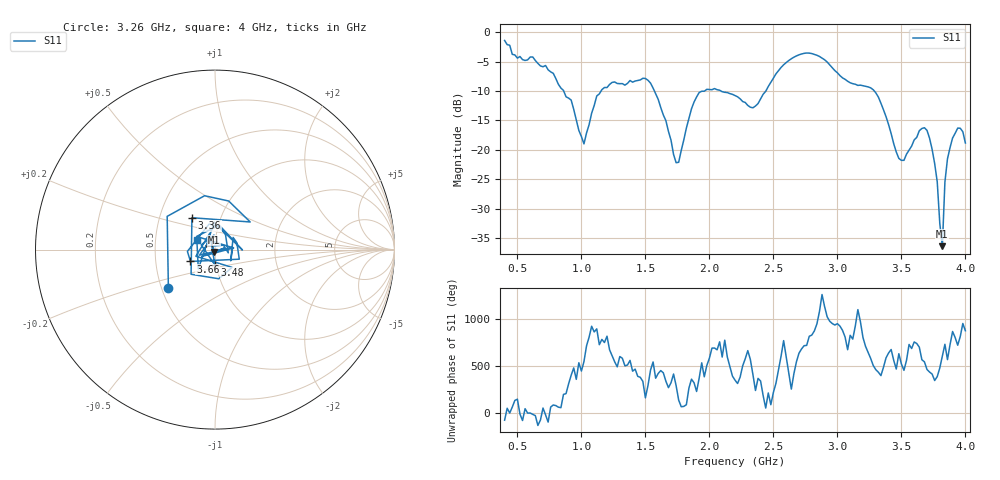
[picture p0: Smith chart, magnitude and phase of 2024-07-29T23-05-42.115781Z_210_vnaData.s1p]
!Created with skrf (http://scikit-rf.org).
# Hz S RI R 50.0
!freq ReS11 ImS11
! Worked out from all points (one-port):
!   181 points, 400 MHz to 4 GHz, reference 50 ohm
!   lowest |S11| = -36.4 dB at 3.82 GHz (marker M1), VSWR 1.03, Z = 49.4 - j1.36 ohm
!   |S11| at or under -10 dB: 1.57 GHz to 1.962 GHz (391.2 MHz wide, 22.2 % of centre); 2.091 GHz to 2.441 GHz (349.5 MHz wide, 15.4 % of centre); 3.289 GHz to end of sweep (the widest 3 of 4)
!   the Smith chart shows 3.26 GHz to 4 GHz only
!   S11 on the Smith chart (normalised r, x): 3.26 GHz: 0.54, -0.26; 3.36 GHz: 0.73, +0.27; 3.48 GHz: 0.98, -0.17; 3.66 GHz: 0.75, -0.10; 4 GHz: 0.81, +0.09
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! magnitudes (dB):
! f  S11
! 400 MHz  -1.4
! 720 MHz  -5.6
! 860 MHz  -9.9
! 920 MHz  -11.5
! 1.02 GHz  -19.0
! 1.12 GHz  -10.8
! 1.3 GHz  -8.7
! 1.54 GHz  -8.6
! 1.76 GHz  -22.1
! 1.86 GHz  -13.0
! 1.92 GHz  -10.2
! 2.2 GHz  -10.8
! 2.34 GHz  -12.8
! 2.66 GHz  -4.2
! 2.84 GHz  -3.9
! 3.1 GHz  -8.6
! 3.26 GHz  -9.5
! 3.36 GHz  -13.2
! 3.48 GHz  -21.5
! 3.56 GHz  -20.0
! 3.66 GHz  -16.4
! 3.7 GHz  -16.7
! 3.76 GHz  -22.4
! 3.82 GHz  -36.4
! 3.84 GHz  -25.5
! 3.86 GHz  -21.5
! 3.94 GHz  -16.3
! 4 GHz  -18.8
